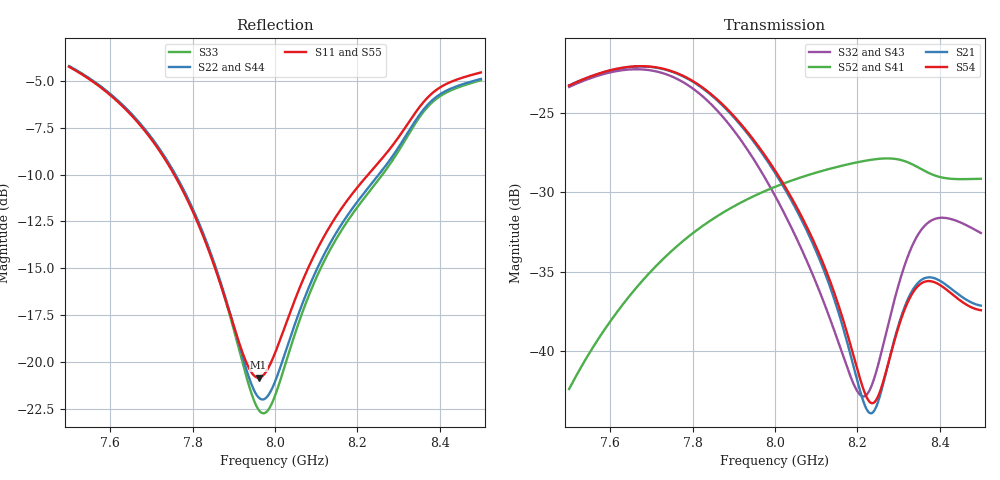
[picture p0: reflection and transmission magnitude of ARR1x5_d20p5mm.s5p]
! Touchstone file exported from HFSS 2025.1.0
!  File:  C:/Users/user/Documents/Ansoft/TFG_UWB-MIMO-Array.aedt
!  Generated:  02:04:23 PM Nov 20, 2026
!  Design:  ARR1x5_US3_PS6_dparam
!  Project:  TFG_UWB-MIMO-Array
!  Setup:  Setup_ch9
!  Solution:  Sweep_7p5_8p5
! Variables:
!  arr_d = 20.5mm
!  board_m = 13mm
!  board_x = 108mm
!  board_y = 26mm
!  cu_t = 0.035mm
!  line_w = 3.92mm
!  pad_xy = 22mm
!  pad_zn = 25mm
!  pad_zp = 33mm
!  par_L = 7.05mm
!  par_W = 11mm
!  par_yc = 0.615mm
!  par_z = 1.035mm
!  patch_L = 6.29mm
!  patch_W = 11.421266mm
!  sub_h = 2.07mm
!  tr_l = 6.6mm
!  tr_w = 0.8mm
!  u_Lu = 2.65mm
!  u_Wu = 4.4mm
!  u_t = 0.8mm
!  u_y0 = -0.7mm
# GHz S MA R 50.000000
! Terminal data exported
! Port[1] = P1
! Port[2] = P2
! Port[3] = P3
! Port[4] = P4
! Port[5] = P5
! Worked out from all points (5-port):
!   1001 points, 7.5 GHz to 8.5 GHz, reference 50 ohm
!   strongest paths, dB at 7.5 GHz, 7.75 GHz, 8 GHz, 8.25 GHz, 8.5 GHz:
!     S54: -23.3, -22.4, -28.6, -42.9, -37.4
!     S21: -23.3, -22.4, -28.8, -43.2, -37.1
!     S52: -42.4, -33.7, -29.7, -27.9, -29.2
!     S41: -42.4, -33.7, -29.7, -27.9, -29.1
!     S32: -23.4, -22.7, -30.2, -40.9, -32.6
!     S43: -23.4, -22.7, -30.2, -40.9, -32.6
!   lowest |S11| = -20.8 dB at 7.96 GHz (marker M1), VSWR 1.20, Z = 59.5 - j2.84 ohm
!   |S11| at or under -10 dB: 7.755 GHz to 8.226 GHz (471.1 MHz wide, 5.9 % of centre)
